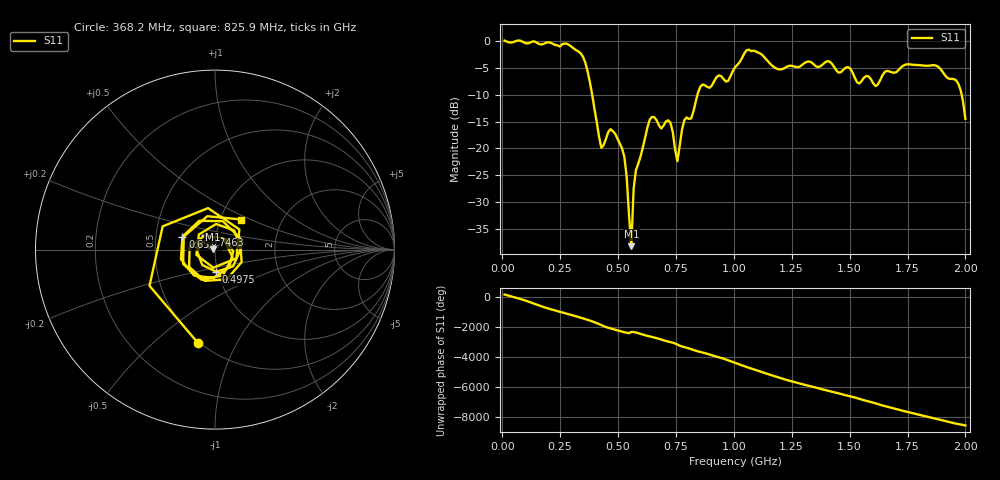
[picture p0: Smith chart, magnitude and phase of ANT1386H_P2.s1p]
!Created with skrf (http://scikit-rf.org).
# Hz S RI R 50.0
!freq ReS11 ImS11
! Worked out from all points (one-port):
!   201 points, 10 MHz to 2 GHz, reference 50 ohm
!   lowest |S11| = -38.2 dB at 557.2 MHz (marker M1), VSWR 1.02, Z = 48.8 + j0.2 ohm
!   |S11| at or under -10 dB: 388.4 MHz to 842.9 MHz (454.5 MHz wide, 73.8 % of centre); 1.984 GHz to end of sweep
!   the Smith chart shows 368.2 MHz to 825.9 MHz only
!   S11 on the Smith chart (normalised r, x): 368.2 MHz: 0.49, -0.71; 497.6 MHz: 0.98, -0.25; 656.8 MHz: 0.69, +0.10; 746.3 MHz: 0.88, +0.14; 825.9 MHz: 1.26, +0.44
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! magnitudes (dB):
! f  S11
! 10 MHz  0.1
! 258.8 MHz  -0.5
! 338.4 MHz  -2.2
! 368.2 MHz  -5.5
! 427.9 MHz  -19.9
! 467.7 MHz  -16.4
! 497.6 MHz  -18.2
! 507.5 MHz  -19.1
! 537.4 MHz  -25.4
! 557.2 MHz  -38.2
! 567.2 MHz  -27.5
! 577.1 MHz  -24.1
! 636.9 MHz  -14.6
! 656.8 MHz  -14.2
! 726.4 MHz  -15.2
! 746.3 MHz  -20.2
! 756.2 MHz  -22.4
! 786.1 MHz  -14.7
! 825.9 MHz  -13.0
! 855.8 MHz  -8.4
! 1.005 GHz  -4.8
! 1.065 GHz  -1.5
! 1.254 GHz  -4.6
! 1.502 GHz  -5.1
! 1.612 GHz  -8.4
! 1.751 GHz  -4.3
! 1.96 GHz  -7.3
! 2 GHz  -14.5
